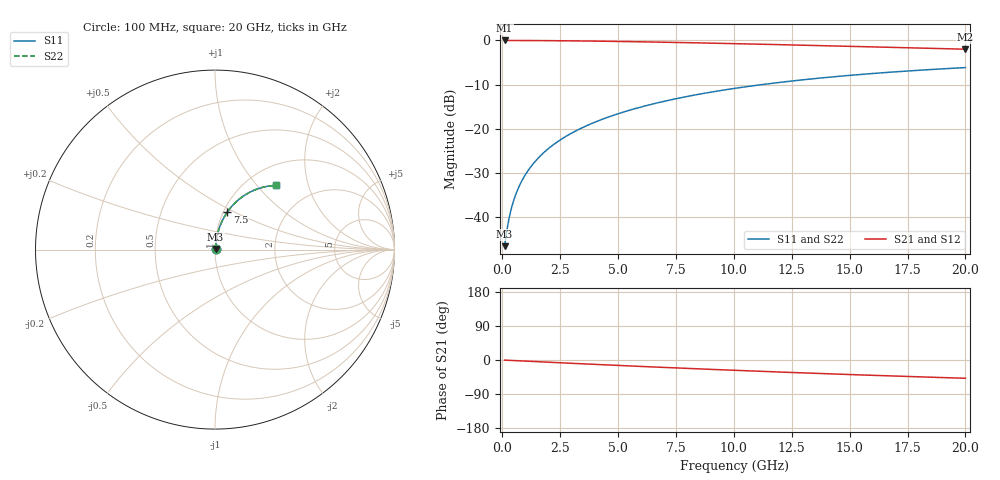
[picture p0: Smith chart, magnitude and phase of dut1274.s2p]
! Touchstone file exported from HFSS 2024.1.0
!  File:  C:/UserFiles/LocalFiles/RDL_TSV_Batchsim/temp_RDL_bottom_1274_1780246357.aedt
!  Generated:  12:55:22 AM Jun  1, 2026
!  Design:  RDL_bottom
!  Project:  temp_RDL_bottom_1274_1780246357
!  Setup:  Setup1
!  Solution:  Sweep
! Variables:
!  dtsv = 10.80580581um
!  hbump = 3um
!  htsv = 73.43um
!  ldown = 650.9um
!  lrdl = 100um
!  p = 40
!  p1 = 53.93um
!  rhole = 1um
!  t = 450um
!  tdown = 4.44um
!  trdl = 3.915915916um
!  wdown = 15.1um
!  wrdl = 20um
# GHz S MA R 50.000000
! Terminal data exported
! Port[1] = RDL1_T1
! Port[2] = RDL1_T2
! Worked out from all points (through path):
!   200 points, 100 MHz to 20 GHz, reference 50 ohm
!   highest |S21| = -0.03 dB at 100 MHz (marker M1); lowest = -2.0 dB at 20 GHz (marker M2)
!   group delay of S21, straight-line fit = 6.68 ps
!   lowest |S11| = -46.5 dB at 100 MHz (marker M3), VSWR 1.01, Z = 50.4 + j0.314 ohm
!   |S11| at or under -10 dB: start of sweep to 11.23 GHz
!   |S22| runs from -46.5 to -6.2 dB; largest |S21 - S12| = 2.5e-14
!   S11 on the Smith chart (normalised r, x): 100 MHz: 1.01, +0.01; 7.5 GHz: 1.04, +0.46; 20 GHz: 1.34, +1.26
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0.1  0.00471 41.5  0.9965 -0.3  0.9965 -0.3  0.00471 41.5
! Gamma 0 0 0 0
! Port Impedance 50 0 50 0
0.2  0.007193 59.5  0.9963 -0.6  0.9963 -0.6  0.007193 59.5
0.3  0.009975 67.5  0.9962 -0.9  0.9962 -0.9  0.009975 67.5
0.4  0.01284 71.9  0.996 -1.2  0.996 -1.2  0.01284 71.9
0.5  0.01573 74.7  0.9959 -1.5  0.9959 -1.5  0.01573 74.7
0.6  0.01863 76.6  0.9957 -1.8  0.9957 -1.8  0.01863 76.6
0.8  0.02449 78.9  0.9953 -2.4  0.9953 -2.4  0.02449 78.9
1.1  0.03332 80.6  0.9946 -3.2  0.9946 -3.2  0.03332 80.6
1.5  0.04515 81.4  0.9935 -4.4  0.9935 -4.4  0.04515 81.4
1.8  0.05404 81.6  0.9924 -5.3  0.9924 -5.3  0.05404 81.6
2.1  0.06292 81.5  0.9911 -6.2  0.9911 -6.2  0.06292 81.5
2.7  0.08066 81.0  0.9881 -7.9  0.9881 -7.9  0.08066 80.9
3.5  0.1042 79.8  0.9832 -10.2  0.9832 -10.2  0.1042 79.8
4.2  0.1247 78.6  0.978 -12.1  0.978 -12.1  0.1247 78.6
5  0.1479 77.1  0.9714 -14.3  0.9714 -14.3  0.1479 77.1
5.9  0.1737 75.3  0.9631 -16.8  0.9631 -16.8  0.1737 75.3
6.8  0.1991 73.4  0.954 -19.1  0.954 -19.1  0.1991 73.4
7.5  0.2186 72.0  0.9466 -20.9  0.9466 -20.9  0.2186 71.9
10.1  0.288 66.4  0.9166 -27.4  0.9166 -27.4  0.2879 66.4
13.4  0.3672 59.4  0.8756 -34.9  0.8756 -34.9  0.3671 59.4
16.7  0.4352 52.8  0.8339 -41.9  0.8339 -41.9  0.435 52.7
20  0.4918 46.7  0.7935 -48.2  0.7935 -48.2  0.4916 46.6
